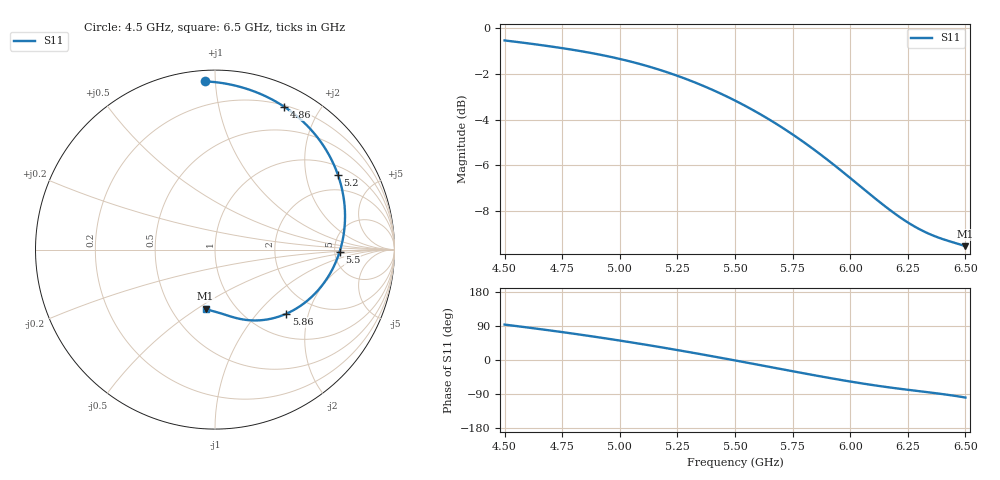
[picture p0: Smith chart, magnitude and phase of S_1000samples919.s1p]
! TOUCHSTONE file generated by CST MICROWAVE STUDIO
! Date and time: Sat Oct 29 19:27:46 2022
! Project name: L.cst
! Parameters = {Di=1.27; Epsilon_r=1.56; InnerDiameter=1.27; Length=2; Lf=10; Lg=60; OuterConductorThickness=0.2921; OuterDiameter=3.6; Wf=3; Wp=41.2; de=1.5; df=6.8; g=0.8; gx=2.67881; gy=4.55162; h=2.34; hf=1.524; px=12.6517; py=11.5111; w=9.7; wx=9.97285; wy=6.95943}
! Header version: 2018
! Port assignment regex: !\s*Touchstone port\s*([0-9]+)\s*=\s*(CST MWS port|CST DS port)\s*([0-9]+|Zmin|Zmax)\s*\(\"(.*)\"\)(\s*mode\s*([0-9]+))?.*
! Touchstone port assignment:
! Touchstone port 1 = CST MWS port 1 ("")
# GHz S DB R 50
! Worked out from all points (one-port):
!   101 points, 4.5 GHz to 6.5 GHz, reference 50 ohm
!   lowest |S11| = -9.5 dB at 6.5 GHz (marker M1), VSWR 2.00, Z = 36.5 - j27.1 ohm
!   |S11| at or under -10 dB: nowhere
!   S11 on the Smith chart (normalised r, x): 4.5 GHz: 0.06, +0.94; 4.86 GHz: 0.22, +1.58; 5.2 GHz: 1.30, +3.05; 5.5 GHz: 5.52, -0.29; 5.86 GHz: 1.46, -1.46; 6.5 GHz: 0.73, -0.54
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4.5  -0.55 93.5
4.58  -0.65 87.3
4.64  -0.73 82.6
4.7  -0.81 77.7
4.76  -0.90 72.8
4.86  -1.07 64.1
4.92  -1.18 58.7
5  -1.36 51.3
5.1  -1.61 41.5
5.2  -1.92 31.4
5.26  -2.13 25.1
5.32  -2.36 18.7
5.38  -2.61 12.2
5.44  -2.88 5.6
5.5  -3.17 -1.1
5.56  -3.49 -7.9
5.64  -3.95 -17.0
5.7  -4.32 -23.9
5.76  -4.72 -30.7
5.82  -5.15 -37.5
5.86  -5.44 -42.0
5.92  -5.91 -48.5
6  -6.55 -56.8
6.12  -7.54 -68.1
6.18  -8.01 -73.1
6.26  -8.56 -79.3
6.36  -9.07 -86.8
6.5  -9.53 -99.1
